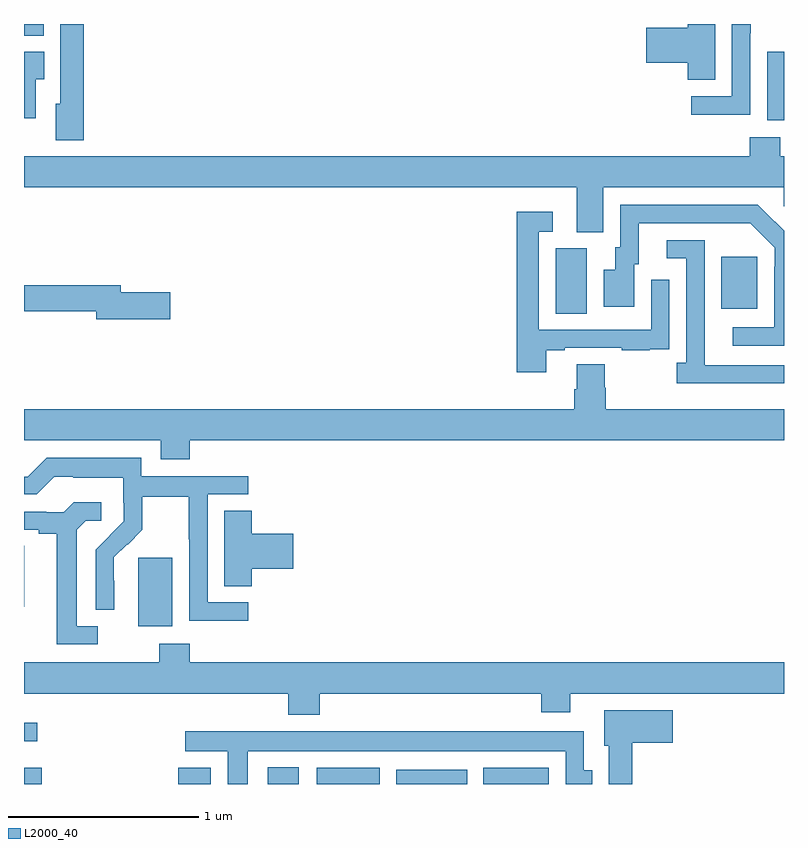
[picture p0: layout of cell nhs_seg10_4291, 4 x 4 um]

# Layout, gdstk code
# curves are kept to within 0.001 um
import gdstk
lib = gdstk.Library(unit=1e-6, precision=1e-09)
def R(c, l, rs):  # rectangles x0, y0, x1, y1
    for r in rs: c.add(gdstk.rectangle(r[:2], r[2:], *l))
def P(c, l, *ps):  # polygons
    for p in ps: c.add(gdstk.Polygon(p, *l))
L2000_40 = (2000, 40)

nhs_seg10_4291 = lib.new_cell('nhs_seg10_4291')
R(nhs_seg10_4291, L2000_40, [(351,1306.5,351.094,1306.585), (351.812,1306.5,351.982,1306.585), (352.283,1306.5,352.447,1306.588), (352.541,1306.5,352.873,1306.585), (352.958,1306.5,353.332,1306.576), (353.417,1306.5,353.761,1306.585), (351,1306.724,351.07,1306.822), (351.602,1307.33,351.781,1307.691), (351,1307.433,351.001,1307.753), (353.798,1308.976,353.962,1309.32), (354.671,1309.001,354.859,1309.276), (354.911,1309.994,355,1310.355), (351,1310.438,351.103,1310.5)])
P(nhs_seg10_4291, L2000_40, [(354.822,1310.452),(354.825,1310.452),(354.825,1310.5),(354.726,1310.5),(354.726,1310.121),(354.513,1310.121),(354.513,1310.023),(354.822,1310.023)],
  [(351.314,1310.5),(351.191,1310.5),(351.191,1310.079),(351.167,1310.079),(351.167,1309.889),(351.314,1309.889)],
  [(354.637,1310.5),(354.494,1310.5),(354.494,1310.48),(354.276,1310.48),(354.276,1310.297),(354.494,1310.297),(354.494,1310.206),(354.637,1310.206)],
  [(351.061,1310.209),(351.106,1310.209),(351.106,1310.353),(351,1310.353),(351,1310.003),(351.061,1310.003)],
  [(351,1309.64),(353.909,1309.64),(353.909,1309.405),(354.049,1309.405),(354.049,1309.64),(354.999,1309.64),(354.999,1309.542),(355,1309.542),(355,1309.804),(354.981,1309.804),(354.981,1309.903),(354.821,1309.903),(354.821,1309.804),(351,1309.804)],
  [(355,1309.412),(354.862,1309.548),(354.138,1309.548),(354.138,1309.326),(354.113,1309.326),(354.113,1309.207),(354.05,1309.207),(354.05,1309.011),(354.211,1309.011),(354.211,1309.236),(354.235,1309.236),(354.235,1309.452),(354.823,1309.452),(354.951,1309.323),(354.951,1309.223),(354.948,1309.223),(354.948,1308.903),(354.729,1308.903),(354.729,1308.807),(355,1308.807)],
  [(353.749,1308.783),(353.845,1308.783),(353.845,1308.795),(354.145,1308.795),(354.145,1308.783),(354.293,1308.783),(354.293,1308.789),(354.395,1308.789),(354.395,1308.898),(354.396,1308.898),(354.396,1309.153),(354.3,1309.153),(354.3,1308.891),(353.709,1308.891),(353.709,1309.407),(353.782,1309.407),(353.782,1309.513),(353.593,1309.513),(353.593,1308.666),(353.749,1308.666)],
  [(355,1308.705),(354.583,1308.705),(354.583,1308.905),(354.582,1308.905),(354.582,1309.362),(354.384,1309.362),(354.384,1309.266),(354.486,1309.266),(354.486,1308.718),(354.435,1308.718),(354.435,1308.608),(355,1308.608)],
  [(351.769,1309.088),(351.508,1309.088),(351.508,1309.124),(351,1309.124),(351,1308.988),(351.38,1308.988),(351.38,1308.946),(351.769,1308.946)],
  [(351.872,1308.308),(355,1308.308),(355,1308.472),(354.062,1308.472),(354.062,1308.585),(354.057,1308.585),(354.057,1308.71),(353.909,1308.71),(353.909,1308.578),(353.897,1308.578),(353.897,1308.472),(351,1308.472),(351,1308.308),(351.719,1308.308),(351.719,1308.209),(351.872,1308.209)],
  [(352.18,1307.457),(351.966,1307.457),(351.966,1308.024),(352.18,1308.024),(352.18,1308.12),(351.618,1308.12),(351.618,1308.217),(351.121,1308.217),(351.021,1308.117),(351,1308.117),(351,1308.024),(351.066,1308.024),(351.159,1308.117),(351.259,1308.117),(351.259,1308.113),(351.522,1308.113),(351.522,1307.979),(351.524,1307.979),(351.524,1307.882),(351.378,1307.734),(351.378,1307.416),(351.474,1307.416),(351.473,1307.693),(351.543,1307.763),(351.546,1307.76),(351.623,1307.837),(351.623,1308.012),(351.868,1308.012),(351.868,1307.788),(351.87,1307.788),(351.87,1307.359),(352.18,1307.359)],
  [(351.388,1307.331),(351.277,1307.331),(351.277,1307.839),(351.324,1307.886),(351.406,1307.886),(351.406,1307.983),(351.262,1307.983),(351.21,1307.931),(351.116,1307.931),(351.116,1307.934),(351,1307.934),(351,1307.838),(351.077,1307.838),(351.077,1307.816),(351.173,1307.816),(351.173,1307.235),(351.388,1307.235)],
  [(352.199,1307.633),(352.417,1307.633),(352.417,1307.816),(352.199,1307.816),(352.199,1307.939),(352.055,1307.939),(352.055,1307.542),(352.199,1307.542)],
  [(352.556,1306.976),(353.723,1306.976),(353.723,1306.877),(353.875,1306.877),(353.875,1306.976),(355,1306.976),(355,1307.14),(351.872,1307.14),(351.872,1307.239),(351.712,1307.239),(351.712,1307.14),(351,1307.14),(351,1306.976),(352.391,1306.976),(352.391,1306.865),(352.556,1306.865)],
  [(354.2,1306.718),(354.415,1306.718),(354.415,1306.888),(354.053,1306.888),(354.053,1306.701),(354.077,1306.701),(354.077,1306.5),(354.2,1306.5)],
  [(352.177,1306.673),(353.85,1306.673),(353.85,1306.5),(353.992,1306.5),(353.992,1306.572),(353.947,1306.572),(353.947,1306.777),(351.849,1306.777),(351.849,1306.673),(352.073,1306.673),(352.073,1306.5),(352.177,1306.5)])

lib.write_gds('nhs_seg10_4291.gds')
